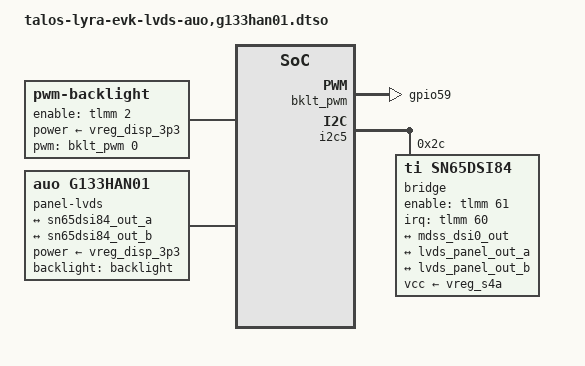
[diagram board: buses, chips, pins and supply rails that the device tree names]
// SPDX-License-Identifier: BSD-3-Clause
/*
 * Copyright (c) Qualcomm Technologies, Inc. and/or its subsidiaries.
 */

/dts-v1/;
/plugin/;

#include <dt-bindings/clock/qcom,qcs615-gcc.h>
#include <dt-bindings/clock/qcom,rpmh.h>
#include <dt-bindings/gpio/gpio.h>
#include <dt-bindings/interrupt-controller/irq.h>

&{/} {
	bklt_pwm: pwm {
		compatible = "clk-pwm";
		#pwm-cells = <2>;
		assigned-clock-parents = <&rpmhcc RPMH_CXO_CLK>;
		assigned-clocks = <&gcc GCC_GP3_CLK_SRC>;
		clocks = <&gcc GCC_GP3_CLK>;
		pinctrl-0 = <&bklt_pwm_default>;
		pinctrl-names = "default";
	};

	backlight: backlight {
		compatible = "pwm-backlight";
		pwms = <&bklt_pwm 0 100000>;
		power-supply = <&vreg_disp_3p3>;
		enable-gpios = <&tlmm 2 GPIO_ACTIVE_HIGH>;
		brightness-levels = <0 255>;
		num-interpolated-steps = <255>;
		default-brightness-level = <128>;
	};

	panel-lvds {
		compatible = "auo,g133han01";
		power-supply = <&vreg_disp_3p3>;
		backlight = <&backlight>;

		ports {
			#address-cells = <1>;
			#size-cells = <0>;

			/* LVDS Channel A — odd pixels */
			port@0 {
				reg = <0>;
				dual-lvds-odd-pixels;

				lvds_panel_out_a: endpoint {
					remote-endpoint = <&sn65dsi84_out_a>;
				};
			};

			/* LVDS Channel B — even pixels */
			port@1 {
				reg = <1>;
				dual-lvds-even-pixels;

				lvds_panel_out_b: endpoint {
					remote-endpoint = <&sn65dsi84_out_b>;
				};
			};
		};
	};

};

&hdmi_connector {
	status = "disabled";
};

&i2c5 {
	#address-cells = <1>;
	#size-cells = <0>;

	bridge@2c {
		compatible = "ti,sn65dsi84";
		reg = <0x2c>;
		enable-gpios = <&tlmm 61 GPIO_ACTIVE_HIGH>;
		interrupts-extended = <&tlmm 60 IRQ_TYPE_EDGE_FALLING>;
		vcc-supply = <&vreg_s4a>;

		pinctrl-0 = <&bridge_irq_pin &bridge_rst_pin>;
		pinctrl-names = "default";

		ports {
			#address-cells = <1>;
			#size-cells = <0>;

			port@0 {
				reg = <0>;

				sn65dsi84_in: endpoint {
					remote-endpoint = <&mdss_dsi0_out>;
					data-lanes = <1 2 3 4>;
				};
			};

			port@2 {
				reg = <2>;

				sn65dsi84_out_a: endpoint {
					data-lanes = <1 2 3 4>;
					remote-endpoint = <&lvds_panel_out_a>;
				};
			};

			port@3 {
				reg = <3>;

				sn65dsi84_out_b: endpoint {
					data-lanes = <1 2 3 4>;
					remote-endpoint = <&lvds_panel_out_b>;
				};
			};
		};
	};
};

&hdmi_bridge {
	status = "disabled";
};

&tlmm {
	bklt_pwm_default: bklt-pwm-default-state {
		pins = "gpio59";
		function = "gcc_gp";
	};
};

&mdss_dsi0_out {
	remote-endpoint = <&sn65dsi84_in>;
	data-lanes = <0 1 2 3>;
};
